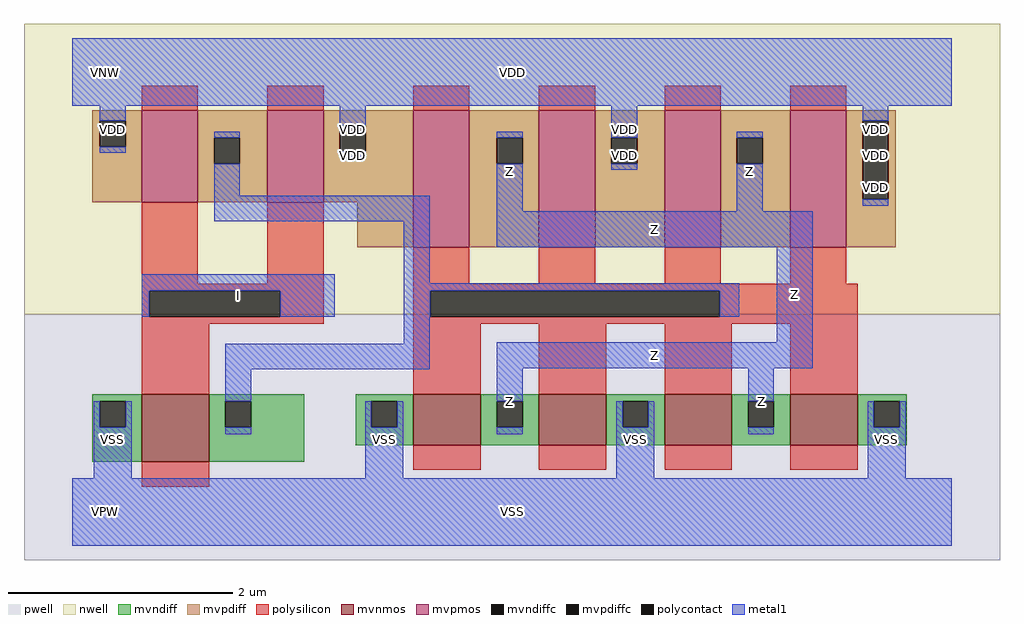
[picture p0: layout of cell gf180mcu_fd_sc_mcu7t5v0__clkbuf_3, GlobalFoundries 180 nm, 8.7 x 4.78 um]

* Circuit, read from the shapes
.subckt gf180mcu_fd_sc_mcu7t5v0__clkbuf_3 I Z VDD VNW VPW VSS
XM1 n1 I VSS VPW nfet_06v0 w=0.605u l=0.6u
XM2 Z n1 VSS VPW nfet_06v0 w=0.455u l=0.6u m=4
XM3 n1 I VDD VNW pfet_06v0 w=0.82u l=0.5u m=2
XM4 Z n1 VDD VNW pfet_06v0 w=1.22u l=0.5u m=4
.ends

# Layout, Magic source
magic
tech gf180mcuD
magscale 1 10
<< nwell >>
rect -86 352 1654 870
<< pwell >>
rect -86 -86 1654 352
<< mvnmos >>
rect 124 89 244 210
rect 608 119 728 210
rect 832 119 952 210
rect 1056 119 1176 210
rect 1280 119 1400 210
<< mvpmos >>
rect 124 552 224 716
rect 348 552 448 716
rect 608 472 708 716
rect 832 472 932 716
rect 1056 472 1156 716
rect 1280 472 1380 716
<< mvndiff >>
rect 36 197 124 210
rect 36 151 49 197
rect 95 151 124 197
rect 36 89 124 151
rect 244 197 414 210
rect 244 151 273 197
rect 319 151 414 197
rect 244 89 414 151
rect 505 197 608 210
rect 505 151 533 197
rect 579 151 608 197
rect 505 119 608 151
rect 728 197 832 210
rect 728 151 757 197
rect 803 151 832 197
rect 728 119 832 151
rect 952 197 1056 210
rect 952 151 981 197
rect 1027 151 1056 197
rect 952 119 1056 151
rect 1176 197 1280 210
rect 1176 151 1205 197
rect 1251 151 1280 197
rect 1176 119 1280 151
rect 1400 197 1488 210
rect 1400 151 1429 197
rect 1475 151 1488 197
rect 1400 119 1488 151
<< mvpdiff >>
rect 36 697 124 716
rect 36 651 49 697
rect 95 651 124 697
rect 36 552 124 651
rect 224 667 348 716
rect 224 621 253 667
rect 299 621 348 667
rect 224 552 348 621
rect 448 689 608 716
rect 448 643 477 689
rect 523 643 608 689
rect 448 552 608 643
rect 508 472 608 552
rect 708 667 832 716
rect 708 621 757 667
rect 803 621 832 667
rect 708 472 832 621
rect 932 667 1056 716
rect 932 621 961 667
rect 1007 621 1056 667
rect 932 472 1056 621
rect 1156 667 1280 716
rect 1156 621 1185 667
rect 1231 621 1280 667
rect 1156 472 1280 621
rect 1380 697 1468 716
rect 1380 557 1409 697
rect 1455 557 1468 697
rect 1380 472 1468 557
<< mvndiffc >>
rect 49 151 95 197
rect 273 151 319 197
rect 533 151 579 197
rect 757 151 803 197
rect 981 151 1027 197
rect 1205 151 1251 197
rect 1429 151 1475 197
<< mvpdiffc >>
rect 49 651 95 697
rect 253 621 299 667
rect 477 643 523 689
rect 757 621 803 667
rect 961 621 1007 667
rect 1185 621 1231 667
rect 1409 557 1455 697
<< polysilicon >>
rect 124 716 224 760
rect 348 716 448 760
rect 608 716 708 760
rect 832 716 932 760
rect 1056 716 1156 760
rect 1280 716 1380 760
rect 124 407 224 552
rect 348 407 448 552
rect 124 394 448 407
rect 124 348 137 394
rect 371 348 448 394
rect 124 335 448 348
rect 608 407 708 472
rect 832 407 932 472
rect 1056 407 1156 472
rect 1280 407 1380 472
rect 608 394 1400 407
rect 608 348 638 394
rect 1154 348 1400 394
rect 608 335 1400 348
rect 124 210 244 335
rect 608 210 728 335
rect 832 210 952 335
rect 1056 210 1176 335
rect 1280 210 1400 335
rect 124 45 244 89
rect 608 75 728 119
rect 832 75 952 119
rect 1056 75 1176 119
rect 1280 75 1400 119
<< polycontact >>
rect 137 348 371 394
rect 638 348 1154 394
<< metal1 >>
rect 0 724 1568 844
rect 49 697 95 724
rect 477 689 523 724
rect 49 640 95 651
rect 253 667 299 678
rect 477 632 523 643
rect 757 667 803 678
rect 253 564 299 621
rect 253 518 637 564
rect 124 394 468 424
rect 124 348 137 394
rect 371 348 468 394
rect 591 408 637 518
rect 757 536 803 621
rect 961 667 1007 724
rect 1409 697 1455 724
rect 961 610 1007 621
rect 1185 667 1231 678
rect 1185 536 1231 621
rect 1409 546 1455 557
rect 757 472 1320 536
rect 591 394 1189 408
rect 591 348 638 394
rect 1154 348 1189 394
rect 591 300 637 348
rect 1256 302 1320 472
rect 273 254 637 300
rect 757 256 1320 302
rect 273 197 319 254
rect 757 197 803 256
rect 1205 197 1251 256
rect 38 151 49 197
rect 95 151 106 197
rect 38 60 106 151
rect 273 138 319 151
rect 522 151 533 197
rect 579 151 590 197
rect 522 60 590 151
rect 757 138 803 151
rect 970 151 981 197
rect 1027 151 1038 197
rect 970 60 1038 151
rect 1205 138 1251 151
rect 1418 151 1429 197
rect 1475 151 1486 197
rect 1418 60 1486 151
rect 0 -60 1568 60
<< labels >>
flabel metal1 s 1185 536 1231 678 0 FreeSans 600 0 0 0 Z
port 2 nsew default output
flabel metal1 s 1418 60 1486 197 0 FreeSans 400 0 0 0 VSS
port 6 nsew ground bidirectional abutment
flabel metal1 s 0 724 1568 844 0 FreeSans 400 0 0 0 VDD
port 3 nsew power bidirectional abutment
flabel metal1 s 124 348 468 424 0 FreeSans 600 0 0 0 I
port 1 nsew default input
flabel nwell s 10 734 110 834 0 FreeSans 400 0 0 0 VNW
port 4 nsew power bidirectional
flabel pwell s 10 -50 110 50 0 FreeSans 400 0 0 0 VPW
port 5 nsew ground bidirectional
rlabel metal1 s 757 536 803 678 1 Z
port 2 nsew default output
rlabel metal1 s 757 472 1320 536 1 Z
port 2 nsew default output
rlabel metal1 s 1256 302 1320 472 1 Z
port 2 nsew default output
rlabel metal1 s 757 256 1320 302 1 Z
port 2 nsew default output
rlabel metal1 s 1205 138 1251 256 1 Z
port 2 nsew default output
rlabel metal1 s 757 138 803 256 1 Z
port 2 nsew default output
rlabel metal1 s 1409 640 1455 724 1 VDD
port 3 nsew power bidirectional abutment
rlabel metal1 s 961 640 1007 724 1 VDD
port 3 nsew power bidirectional abutment
rlabel metal1 s 477 640 523 724 1 VDD
port 3 nsew power bidirectional abutment
rlabel metal1 s 49 640 95 724 1 VDD
port 3 nsew power bidirectional abutment
rlabel metal1 s 1409 632 1455 640 1 VDD
port 3 nsew power bidirectional abutment
rlabel metal1 s 961 632 1007 640 1 VDD
port 3 nsew power bidirectional abutment
rlabel metal1 s 477 632 523 640 1 VDD
port 3 nsew power bidirectional abutment
rlabel metal1 s 1409 610 1455 632 1 VDD
port 3 nsew power bidirectional abutment
rlabel metal1 s 961 610 1007 632 1 VDD
port 3 nsew power bidirectional abutment
rlabel metal1 s 1409 546 1455 610 1 VDD
port 3 nsew power bidirectional abutment
rlabel metal1 s 970 60 1038 197 1 VSS
port 6 nsew ground bidirectional abutment
rlabel metal1 s 522 60 590 197 1 VSS
port 6 nsew ground bidirectional abutment
rlabel metal1 s 38 60 106 197 1 VSS
port 6 nsew ground bidirectional abutment
rlabel metal1 s 0 -60 1568 60 1 VSS
port 6 nsew ground bidirectional abutment
<< properties >>
string FIXED_BBOX 0 0 1568 784
string GDS_END 1450944
string GDS_FILE $PDKPATH/libs.ref/gf180mcu_fd_sc_mcu7t5v0/gds/gf180mcu_fd_sc_mcu7t5v0.gds
string GDS_START 1446860
string LEFclass core
string LEFsite GF018hv5v_mcu_sc7
string LEFsymmetry X Y
<< end >>
